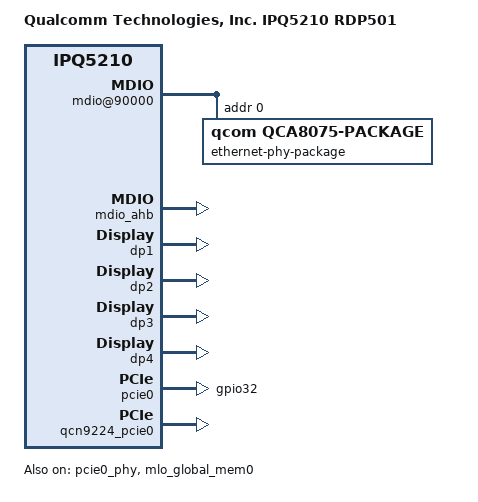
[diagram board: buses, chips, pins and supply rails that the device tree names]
// SPDX-License-Identifier: (GPL-2.0+ OR BSD-3-Clause)
/*
 * IPQ5210 RDP501 board device tree source
 *
 * Copyright (c) 2020-2021 The Linux Foundation. All rights reserved.
 * Copyright (c) Qualcomm Technologies, Inc. and/or its subsidiaries.
 */

/dts-v1/;

#include "ipq5210-rdp-common.dtsi"
#include "ipq5210-default-memory.dtsi"

/ {
	model = "Qualcomm Technologies, Inc. IPQ5210 RDP501";
	compatible = "qcom,ipq5210-rdp501", "qcom,ipq5210";

	aliases {
		serial0 = &uart1;
		ethernet0 = "/soc/dp1";
		ethernet1 = "/soc/dp2";
		ethernet2 = "/soc/dp3";
		ethernet3 = "/soc/dp4";
	};

	soc@0 {
		mdio@90000 {
			status = "okay";
			/* gpio reset for Malibu PHY */
			phy-reset-gpio = <&tlmm 24 GPIO_ACTIVE_LOW>;

			ethernet-phy-package@0 {
				compatible = "qcom,qca8075-package";
				#address-cells = <1>;
				#size-cells = <0>;
				reg = <0x0>;
				qcom,package-mode = "psgmii";
				phy0: ethernet-phy@0 {
					reg = <0>;
				};
				phy1: ethernet-phy@1 {
					reg = <1>;
				};
				phy2: ethernet-phy@2 {
					reg = <2>;
				};
			};
		};

		mdio_ahb: mdio-ahb@1400000 {
			status = "okay";
			compatible = "qcom,mdio-ahb-ipq52xx";
			reg = <0x1400000 0x200000>;  /* Base address: 0x1400000, Size: 2MB */
		};

		ess-instance {
			num_devices = <0x1>;

			ess_switch: ess-switch@3a000000 {
				switch_lan_bmp = <0xe>; /* lan port bitmap */
				switch_wan_bmp = <0x10>; /* wan port bitmap */
				switch_mac_mode = <0x0>; /* PSGMII for malibu PHY */
				switch_mac_mode1 = <0xff>; /* unused */
				switch_mac_mode2 = <0xff>; /* unused */

				qcom,port_phyinfo {
					port@0 {
						port_id = <1>;
						phy_address = <0>;
						phy-handle = <&phy0>;
						phy-mode = "psgmii";
					};
					port@1 {
						port_id = <2>;
						phy_address = <1>;
						phy-handle = <&phy1>;
						phy-mode = "psgmii";
					};
					port@2 {
						port_id = <3>;
						phy_address = <2>;
						phy-handle = <&phy2>;
						phy-mode = "psgmii";
					};
					port@3 {
						port_id = <4>;
						phy-mode = "internal";
					};
				};
			};
		};

		dp1 {
			device_type = "network";
			compatible = "qcom,nss-dp";
			qcom,id = <1>;
			reg = <0x3a001000 0x200>;
			qcom,mactype = <0>;
			local-mac-address = [000000000000];
			qcom,ppe-offload-disabled = <0>;
		};

		dp2 {
			device_type = "network";
			compatible = "qcom,nss-dp";
			qcom,id = <2>;
			reg = <0x3a001200 0x200>;
			qcom,mactype = <0>;
			local-mac-address = [000000000000];
			qcom,ppe-offload-disabled = <0>;
		};


		dp3 {
			device_type = "network";
			compatible = "qcom,nss-dp";
			qcom,id = <3>;
			reg = <0x3a001400 0x200>;
			qcom,mactype = <0>;
			local-mac-address = [000000000000];
			qcom,ppe-offload-disabled = <0>;
		};

		dp4 {
			device_type = "network";
			compatible = "qcom,nss-dp";
			qcom,id = <4>;
			reg = <0x3a001600 0x200>;
			qcom,mactype = <0>;
			local-mac-address = [000000000000];
			qcom,ppe-offload-disabled = <0>;
		};

	};
};

&nsscc {
	assigned-clocks = <&nsscc NSS_CC_EPHY_RX_CLK_SRC>,
			  <&nsscc NSS_CC_EPHY_TX_CLK_SRC>;
	assigned-clock-parents = <&nsscc NSS_CC_PORT4_RX_DIV_CLK_SRC>,
				 <&nsscc NSS_CC_PORT4_TX_DIV_CLK_SRC>;
};

&tlmm {
	pcie0_default_state: pcie0-default-state {
		pins = "gpio32";
		function = "gpio";
		drive-strength = <6>;
		bias-pull-down;
		output-low;
	};
};

&pcie0_phy {
	status = "okay";
};

&pcie0 {
	pinctrl-0 = <&pcie0_default_state>;
	perst-gpio = <&tlmm 32 GPIO_ACTIVE_LOW>;
	status = "okay";

	pcie0_rp {
		reg = <0 0 0 0 0>;
		qcom,mhi@0 {
			reg = <0 0 0 0 0>;
			memory-region = <&qcn9224_pcie0>, <&mlo_global_mem0>;
			memory-region-names = "host-ddr-mem", "mlo-global-mem";
			qcom,board_id = <0x1041>;
			status = "okay";
			ports {
				#address-cells = <1>;
				#size-cells = <0>;

				port@0 {
					reg = <0>;
				};

				port@1 {
					reg = <1>;
				};
			};
		};
	};
};

&qcn9224_pcie0 {
	status = "okay";
};

&mlo_global_mem0 {
	status = "okay";
};
